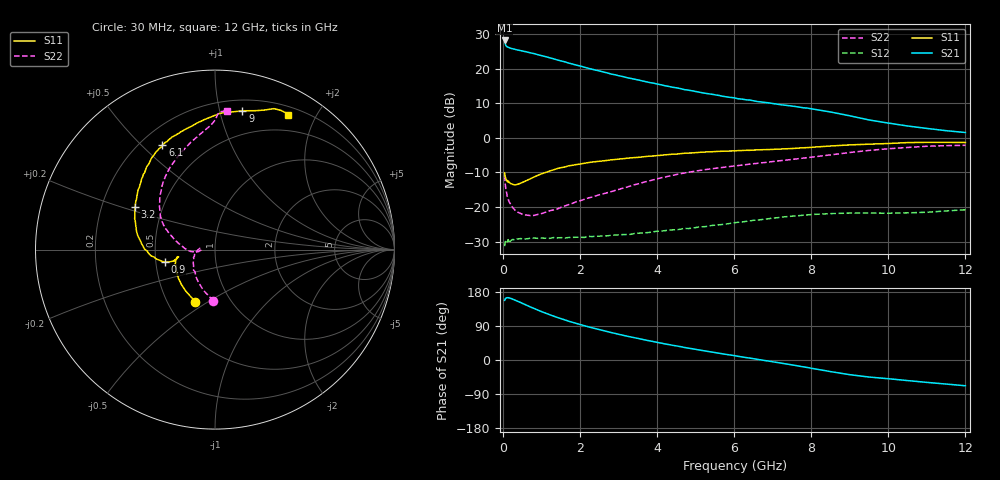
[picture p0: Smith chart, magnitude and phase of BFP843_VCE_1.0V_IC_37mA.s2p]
! Infineon Technologies  Discrete & RF Semiconductors
! BFP843
! VCE =  1.0 V,  IC =  37 mA
! Common Emitter S-Parameters:  Aug 2013
# GHz  S  MA  R  50
!  f  S11  S21  S12  S22
! GHz  MAG  ANG  MAG  ANG  MAG  ANG  MAG  ANG
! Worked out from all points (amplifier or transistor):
!   103 points, 30 MHz to 12 GHz, reference 50 ohm
!   highest |S21| = 28.1 dB at 30 MHz (marker M1)
!   |S21| within 3 dB of that: start of sweep to 474.3 MHz
!   unconditionally stable (mu >= 1): 57.41 MHz to 10.87 GHz
!   at 400 MHz: K = 1.08, MAG = 25.6 dB, |S12| = -29.2 dB
!   at 3.7 GHz: K = 1.43, MAG = 17.9 dB, |S12| = -27.5 dB
!   at 12 GHz: K = 0.93, MSG = 11.2 dB, |S12| = -20.8 dB
!   S11 on the Smith chart (normalised r, x): 30 MHz: 0.69, -0.44; 900 MHz: 0.56, -0.08; 3.2 GHz: 0.35, +0.22; 6.1 GHz: 0.29, +0.58; 9 GHz: 0.29, +1.18; 12 GHz: 0.30, +1.64
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0.03  0.3104 -110.8  25.48 157.6  0.0271 29.0  0.2854 -91.7
0.04  0.2824 -125.4  23.5 159.2  0.0293 21.6  0.2366 -105.7
0.05  0.2696 -134.1  22.44 161.9  0.0317 15.6  0.2043 -116.8
0.07  0.2485 -148.8  21.18 163.6  0.03 10.4  0.1661 -132.4
0.1  0.2327 -157.8  20.59 164.5  0.0311 12.9  0.1416 -148.7
0.13  0.2288 -162.8  20.24 164.4  0.0328 9.5  0.1275 -159.8
0.6  0.2404 -164.6  17.41 144.6  0.0346 5.4  0.0764 176.2
0.9  0.2876 -166.1  15.83 131.4  0.0351 5.8  0.0781 -178.5
1.1  0.3155 -169.3  14.87 123.5  0.0353 6.3  0.0841 -175.6
1.4  0.359 -174.6  13.31 112.2  0.0357 7.8  0.0935 -173.0
1.7  0.3934 179.4  11.96 102.2  0.0362 8.4  0.1083 -173.1
2.1  0.428 171.5  10.46 90.5  0.0362 9.8  0.1288 -175.2
2.6  0.464 162.4  8.913 77.4  0.0382 11.9  0.1552 -179.7
3.2  0.5051 151.9  7.406 63.1  0.0399 15.1  0.1929 172.4
4.1  0.5582 137.7  5.819 44.5  0.0447 17.1  0.2641 161.3
5.1  0.6153 125.6  4.537 26.2  0.0515 17.0  0.337 151.4
6.1  0.6527 116.7  3.658 9.6  0.06 15.6  0.3967 141.1
7.3  0.6916 103.5  2.961 -9.8  0.072 8.7  0.4735 127.6
8.5  0.7605 87.8  2.355 -30.7  0.0801 -2.1  0.5659 110.6
9  0.7884 78.8  2.075 -38.8  0.0815 -6.7  0.6123 102.8
10.5  0.8513 67.3  1.479 -54.3  0.0822 -13.9  0.7239 89.8
12  0.8536 61.6  1.19 -68.0  0.091 -20.6  0.7777 85.2
